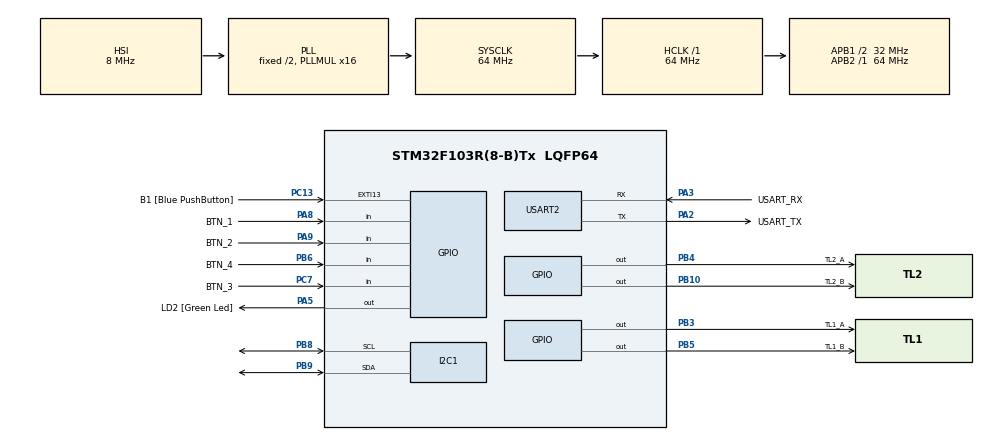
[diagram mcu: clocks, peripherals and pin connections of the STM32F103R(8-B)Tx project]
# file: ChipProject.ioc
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Mcu.Family=STM32F1
Mcu.Name=STM32F103R(8-B)Tx
Mcu.Package=LQFP64
NVIC.EXTI15_10_IRQn=true\:0\:0\:false\:false\:true\:true\:true
NVIC.PriorityGroup=NVIC_PRIORITYGROUP_4
NVIC.TIM2_IRQn=true\:0\:0\:false\:false\:true\:true\:true
PA13.GPIO_Label=TMS
PA13.Mode=Serial_Wire
PA13.Signal=SYS_JTMS-SWDIO
PA14.GPIO_Label=TCK
PA14.Mode=Serial_Wire
PA14.Signal=SYS_JTCK-SWCLK
PA2.GPIO_Label=USART_TX
PA2.GPIO_Mode=GPIO_MODE_AF_PP
PA2.GPIO_PuPd=GPIO_NOPULL
PA2.GPIO_Speed=GPIO_SPEED_FREQ_LOW
PA2.Mode=Asynchronous
PA2.Signal=USART2_TX
PA3.GPIO_Label=USART_RX
PA3.GPIO_Mode=GPIO_MODE_AF_PP
PA3.GPIO_PuPd=GPIO_NOPULL
PA3.GPIO_Speed=GPIO_SPEED_FREQ_LOW
PA3.Mode=Asynchronous
PA3.Signal=USART2_RX
PA5.GPIO_Label=LD2 [Green Led]
PA5.GPIO_ModeDefaultOutputPP=GPIO_MODE_OUTPUT_PP
PA5.GPIO_PuPd=GPIO_NOPULL
PA5.GPIO_Speed=GPIO_SPEED_FREQ_LOW
PA5.Signal=GPIO_Output
PA8.GPIO_Label=BTN_1
PA8.GPIO_PuPd=GPIO_PULLUP
PA8.Signal=GPIO_Input
PA9.GPIO_Label=BTN_2
PA9.GPIO_PuPd=GPIO_PULLUP
PA9.Signal=GPIO_Input
PB10.GPIO_Label=TL2_B
PB10.Signal=GPIO_Output
PB3.GPIO_Label=TL1_A
PB3.Signal=GPIO_Output
PB4.GPIO_Label=TL2_A
PB4.Signal=GPIO_Output
PB5.GPIO_Label=TL1_B
PB5.Signal=GPIO_Output
PB6.GPIO_Label=BTN_4
PB6.GPIO_PuPd=GPIO_PULLUP
PB6.Signal=GPIO_Input
PB8.Mode=I2C
PB8.Signal=I2C1_SCL
PB9.Mode=I2C
PB9.Signal=I2C1_SDA
PC13-TAMPER-RTC.GPIO_Label=B1 [Blue PushButton]
PC13-TAMPER-RTC.GPIO_PuPd=GPIO_NOPULL
PC13-TAMPER-RTC.Signal=GPXTI13
PC14-OSC32_IN.Mode=LSE-External-Oscillator
PC14-OSC32_IN.Signal=RCC_OSC32_IN
PC15-OSC32_OUT.Mode=LSE-External-Oscillator
PC15-OSC32_OUT.Signal=RCC_OSC32_OUT
PC7.GPIO_Label=BTN_3
PC7.GPIO_PuPd=GPIO_PULLUP
PC7.Signal=GPIO_Input
PD0-OSC_IN.Mode=HSE-External-Clock-Source
PD0-OSC_IN.Signal=RCC_OSC_IN
PD1-OSC_OUT.Mode=HSE-External-Clock-Source
PD1-OSC_OUT.Signal=RCC_OSC_OUT
ProjectManager.HeapSize=0x200
ProjectManager.StackSize=0x400
ProjectManager.TargetToolchain=STM32CubeIDE
RCC.AHBFreq_Value=64000000
RCC.APB1CLKDivider=RCC_HCLK_DIV2
RCC.APB1Freq_Value=32000000
RCC.APB1TimFreq_Value=64000000
RCC.APB2Freq_Value=64000000
RCC.APB2TimFreq_Value=64000000
RCC.HCLKFreq_Value=64000000
RCC.PLLMUL=RCC_PLL_MUL16
RCC.RTCClockSelection=RCC_RTCCLKSOURCE_LSE
RCC.SYSCLKFreq_VALUE=64000000
RCC.SYSCLKSource=RCC_SYSCLKSOURCE_PLLCLK
RCC.USBFreq_Value=64000000
TIM2.Period=79
TIM2.Prescaler=7999
USART2.VirtualMode=VM_ASYNC
VP_TIM2_VS_ClockSourceINT.Mode=Internal
board=NUCLEO-F103RB

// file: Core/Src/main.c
/* USER CODE BEGIN Header */
/**
  ******************************************************************************
  * @file           : main.c
  * @brief          : Main program body
  ******************************************************************************
  * @attention
  *
  * <h2><center>&copy; Copyright (c) 2026 STMicroelectronics.
  * All rights reserved.</center></h2>
  *
  * This software component is licensed by ST under BSD 3-Clause license,
  * the "License"; You may not use this file except in compliance with the
  * License. You may obtain a copy of the License at:
  *                        opensource.org/licenses/BSD-3-Clause
  *
  ******************************************************************************
  */
/* USER CODE END Header */
#include "main.h"

/* USER CODE BEGIN Includes */
#include "lcd.h"
#include "scheduler.h"
#include "software_timer.h"
#include "fsm_automatic.h"
#include "fsm_tuning.h"
#include "global.h"
#include "dht20.h"
#include "button.h"
#include "uart_log.h"
/* USER CODE END Includes */

I2C_HandleTypeDef hi2c1;

TIM_HandleTypeDef htim2;

UART_HandleTypeDef huart2;

void SystemClock_Config(void);
static void MX_GPIO_Init(void);
static void MX_USART2_UART_Init(void);
static void MX_TIM2_Init(void);
static void MX_I2C1_Init(void);

/* USER CODE BEGIN 0 */
void app_task_10ms(void) {
    timer_run();
    button_reading();
    fsm_global_run();
    if (!((system_mode >= 3 && system_mode <= 5) && fsm_tuning_is_error_wait())) {
        LCD_Update_Environment();
    }
}

void Task_Heartbeat_LED(void) {
    HAL_GPIO_TogglePin(LD2_GPIO_Port, LD2_Pin);
}
/* USER CODE END 0 */

int main(void)
{

  /* MCU Configuration--------------------------------------------------------*/

  /* Reset of all peripherals, Initializes the Flash interface and the Systick. */
  HAL_Init();

  /* Configure the system clock */
  SystemClock_Config();

  /* Initialize all configured peripherals */
  MX_GPIO_Init();
  MX_USART2_UART_Init();
  MX_TIM2_Init();
  MX_I2C1_Init();
  /* USER CODE BEGIN 2 */
  timer_init();
  button_init();
  lcd_init();
  lcd_clear();
  DHT20_Init();
  fsm_automatic_init(0);
  LCD_Update_Environment();
  SCH_Init();

  SCH_Add_Task(app_task_10ms, 0, 1);
  SCH_Add_Task(Task_Heartbeat_LED, 0, 50);
  SCH_Add_Task(Task_DHT20_Trigger, 5, 400);
  uart_log("[SYS] Traffic Light Ready (R=%02d G=%02d A=%02d)\r\n",
           red_duration, green_duration, amber_duration);
  HAL_TIM_Base_Start_IT(&htim2);

//  lcd_put_cur(0, 0);
//  lcd_send_string("LCD TEST OK!");
// 	tìm address của I2C
//  uint8_t found[8]; int n = 0;
//  for (uint8_t addr = 1; addr < 128; addr++) {
//  if (HAL_I2C_IsDeviceReady(&hi2c1, addr << 1, 1, 10) == HAL_OK)
//  if (n < 8) found[n++] = addr; // set a breakpoint to inspect the found array
//  }
  // ĐẶT BREAKPOINT TẠI DÒNG NÀY:
  /* USER CODE END 2 */

  /* Infinite loop */
  /* USER CODE BEGIN WHILE */
  while (1)
  {
	  SCH_Dispatch_Tasks();

    /* USER CODE END WHILE */

  }
}

void SystemClock_Config(void)
{
  RCC_OscInitTypeDef RCC_OscInitStruct = {0};
  RCC_ClkInitTypeDef RCC_ClkInitStruct = {0};

  /** Initializes the RCC Oscillators according to the specified parameters
  * in the RCC_OscInitTypeDef structure.
  */
  RCC_OscInitStruct.OscillatorType = RCC_OSCILLATORTYPE_HSI;
  RCC_OscInitStruct.HSIState = RCC_HSI_ON;
  RCC_OscInitStruct.HSICalibrationValue = RCC_HSICALIBRATION_DEFAULT;
  RCC_OscInitStruct.PLL.PLLState = RCC_PLL_ON;
  RCC_OscInitStruct.PLL.PLLSource = RCC_PLLSOURCE_HSI_DIV2;
  RCC_OscInitStruct.PLL.PLLMUL = RCC_PLL_MUL16;
  if (HAL_RCC_OscConfig(&RCC_OscInitStruct) != HAL_OK)
  {
    Error_Handler();
  }
  /** Initializes the CPU, AHB and APB buses clocks
  */
  RCC_ClkInitStruct.ClockType = RCC_CLOCKTYPE_HCLK|RCC_CLOCKTYPE_SYSCLK
                              |RCC_CLOCKTYPE_PCLK1|RCC_CLOCKTYPE_PCLK2;
  RCC_ClkInitStruct.SYSCLKSource = RCC_SYSCLKSOURCE_PLLCLK;
  RCC_ClkInitStruct.AHBCLKDivider = RCC_SYSCLK_DIV1;
  RCC_ClkInitStruct.APB1CLKDivider = RCC_HCLK_DIV2;
  RCC_ClkInitStruct.APB2CLKDivider = RCC_HCLK_DIV1;

  if (HAL_RCC_ClockConfig(&RCC_ClkInitStruct, FLASH_LATENCY_2) != HAL_OK)
  {
    Error_Handler();
  }
}

static void MX_I2C1_Init(void)
{

  hi2c1.Instance = I2C1;
  hi2c1.Init.ClockSpeed = 100000;
  hi2c1.Init.DutyCycle = I2C_DUTYCYCLE_2;
  hi2c1.Init.OwnAddress1 = 0;
  hi2c1.Init.AddressingMode = I2C_ADDRESSINGMODE_7BIT;
  hi2c1.Init.DualAddressMode = I2C_DUALADDRESS_DISABLE;
  hi2c1.Init.OwnAddress2 = 0;
  hi2c1.Init.GeneralCallMode = I2C_GENERALCALL_DISABLE;
  hi2c1.Init.NoStretchMode = I2C_NOSTRETCH_DISABLE;
  if (HAL_I2C_Init(&hi2c1) != HAL_OK)
  {
    Error_Handler();
  }

}

static void MX_TIM2_Init(void)
{

  TIM_ClockConfigTypeDef sClockSourceConfig = {0};
  TIM_MasterConfigTypeDef sMasterConfig = {0};

  htim2.Instance = TIM2;
  htim2.Init.Prescaler = 7999;
  htim2.Init.CounterMode = TIM_COUNTERMODE_UP;
  htim2.Init.Period = 79;
  htim2.Init.ClockDivision = TIM_CLOCKDIVISION_DIV1;
  htim2.Init.AutoReloadPreload = TIM_AUTORELOAD_PRELOAD_DISABLE;
  if (HAL_TIM_Base_Init(&htim2) != HAL_OK)
  {
    Error_Handler();
  }
  sClockSourceConfig.ClockSource = TIM_CLOCKSOURCE_INTERNAL;
  if (HAL_TIM_ConfigClockSource(&htim2, &sClockSourceConfig) != HAL_OK)
  {
    Error_Handler();
  }
  sMasterConfig.MasterOutputTrigger = TIM_TRGO_RESET;
  sMasterConfig.MasterSlaveMode = TIM_MASTERSLAVEMODE_DISABLE;
  if (HAL_TIMEx_MasterConfigSynchronization(&htim2, &sMasterConfig) != HAL_OK)
  {
    Error_Handler();
  }

}

static void MX_USART2_UART_Init(void)
{

  huart2.Instance = USART2;
  huart2.Init.BaudRate = 115200;
  huart2.Init.WordLength = UART_WORDLENGTH_8B;
  huart2.Init.StopBits = UART_STOPBITS_1;
  huart2.Init.Parity = UART_PARITY_NONE;
  huart2.Init.Mode = UART_MODE_TX_RX;
  huart2.Init.HwFlowCtl = UART_HWCONTROL_NONE;
  huart2.Init.OverSampling = UART_OVERSAMPLING_16;
  if (HAL_UART_Init(&huart2) != HAL_OK)
  {
    Error_Handler();
  }

}

static void MX_GPIO_Init(void)
{
  GPIO_InitTypeDef GPIO_InitStruct = {0};

  /* GPIO Ports Clock Enable */
  __HAL_RCC_GPIOC_CLK_ENABLE();
  __HAL_RCC_GPIOD_CLK_ENABLE();
  __HAL_RCC_GPIOA_CLK_ENABLE();
  __HAL_RCC_GPIOB_CLK_ENABLE();

  /*Configure GPIO pin Output Level */
  HAL_GPIO_WritePin(LD2_GPIO_Port, LD2_Pin, GPIO_PIN_RESET);

  /*Configure GPIO pin Output Level */
  HAL_GPIO_WritePin(GPIOB, TL2_B_Pin|TL1_A_Pin|TL2_A_Pin|TL1_B_Pin, GPIO_PIN_RESET);

  /*Configure GPIO pin : B1_Pin */
  GPIO_InitStruct.Pin = B1_Pin;
  GPIO_InitStruct.Mode = GPIO_MODE_IT_RISING;
  GPIO_InitStruct.Pull = GPIO_NOPULL;
  HAL_GPIO_Init(B1_GPIO_Port, &GPIO_InitStruct);

  /*Configure GPIO pin : LD2_Pin */
  GPIO_InitStruct.Pin = LD2_Pin;
  GPIO_InitStruct.Mode = GPIO_MODE_OUTPUT_PP;
  GPIO_InitStruct.Pull = GPIO_NOPULL;
  GPIO_InitStruct.Speed = GPIO_SPEED_FREQ_LOW;
  HAL_GPIO_Init(LD2_GPIO_Port, &GPIO_InitStruct);

  /*Configure GPIO pins : TL2_B_Pin TL1_A_Pin TL2_A_Pin TL1_B_Pin */
  GPIO_InitStruct.Pin = TL2_B_Pin|TL1_A_Pin|TL2_A_Pin|TL1_B_Pin;
  GPIO_InitStruct.Mode = GPIO_MODE_OUTPUT_PP;
  GPIO_InitStruct.Pull = GPIO_NOPULL;
  GPIO_InitStruct.Speed = GPIO_SPEED_FREQ_LOW;
  HAL_GPIO_Init(GPIOB, &GPIO_InitStruct);

  /*Configure GPIO pin : BTN_3_Pin */
  GPIO_InitStruct.Pin = BTN_3_Pin;
  GPIO_InitStruct.Mode = GPIO_MODE_INPUT;
  GPIO_InitStruct.Pull = GPIO_PULLUP;
  HAL_GPIO_Init(BTN_3_GPIO_Port, &GPIO_InitStruct);

  /*Configure GPIO pins : BTN_1_Pin BTN_2_Pin */
  GPIO_InitStruct.Pin = BTN_1_Pin|BTN_2_Pin;
  GPIO_InitStruct.Mode = GPIO_MODE_INPUT;
  GPIO_InitStruct.Pull = GPIO_PULLUP;
  HAL_GPIO_Init(GPIOA, &GPIO_InitStruct);

  /*Configure GPIO pin : BTN_4_Pin */
  GPIO_InitStruct.Pin = BTN_4_Pin;
  GPIO_InitStruct.Mode = GPIO_MODE_INPUT;
  GPIO_InitStruct.Pull = GPIO_PULLUP;
  HAL_GPIO_Init(BTN_4_GPIO_Port, &GPIO_InitStruct);

  /* EXTI interrupt init*/
  HAL_NVIC_SetPriority(EXTI15_10_IRQn, 0, 0);
  HAL_NVIC_EnableIRQ(EXTI15_10_IRQn);

}

/* USER CODE BEGIN 4 */
void HAL_TIM_PeriodElapsedCallback(TIM_HandleTypeDef *htim) {
    if (htim->Instance == TIM2) {
        SCH_Update();
    }
}
/* USER CODE END 4 */

void Error_Handler(void)
{
  __disable_irq();
  while (1)
  {
  }
}

/************************ (C) COPYRIGHT STMicroelectronics *****END OF FILE****/
